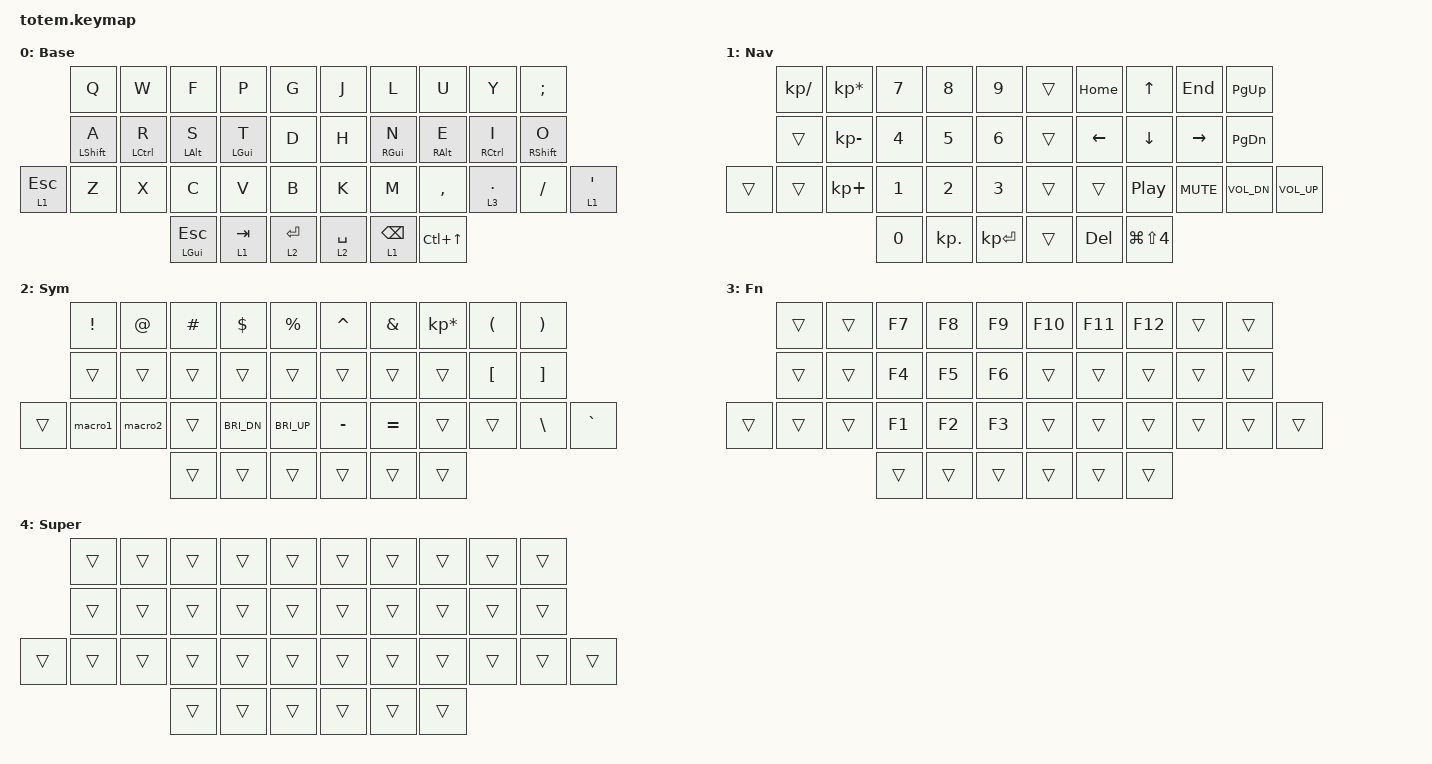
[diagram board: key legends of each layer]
//
//                                                        ▀▀▀▀▀     ▀▀▀▀▀          ▀▀█▀▀
//                                                        ▄▀▀▀▄  ▄  ▄▀▀▀▄  ▄  ▄▀▀▀▄  █  ▄▀▀▀▄
//                                                        █   █  █  █   █  █  █   █  █  █   █
//                                                         ▀▀▀   █   ▀▀▀   █   ▀▀▀   ▀   ▀▀▀
//                                                               █      ▄▄▄█▄▄▄    █   █  
//                                                               ▀      █  █  █     █▄█
//                                                             ▀▀▀▀▀    █  █  █      ▀
//                                                                      ▀  ▀  ▀
//
// ▄▄▄▄▄▄▄▄▄▄▄▄▄▄▄▄▄▄▄▄▄▄▄▄▄▄▄▄▄▄▄▄▄▄▄▄▄▄▄▄▄▄▄▄▄▄▄▄▄▄▄▄▄▄▄▄▄▄▄▄▄▄▄▄▄▄▄▄▄▄▄▄▄▄▄▄▄▄▄▄▄▄▄▄▄▄▄▄▄▄▄▄▄▄▄▄▄▄▄▄▄▄▄▄▄▄▄▄▄▄▄▄▄▄▄▄▄▄▄▄▄▄▄▄▄▄▄▄▄▄▄▄▄▄▄▄▄▄▄▄▄▄▄▄▄▄▄▄▄

#include <behaviors.dtsi>
#include <dt-bindings/zmk/keys.h>

#define Base        0
#define Nav         1
#define Sym         2
#define Fun         3
#define Game        4
#define Gameplus    5

&mt {
    quick-tap-ms = <100>;
    global-quick-tap;
    flavor = "tap-preferred";
    tapping-term-ms = <170>;
};

&lt {
    tapping-term-ms = <240>;
    flavor = "balanced";
    quick-tap-ms = <150>;
};

/ {
    behaviors {
        hm: homerow_mods {
            compatible = "zmk,behavior-hold-tap";
            label = "HOMEROW_MODS";
            #binding-cells = <2>;
            flavor = "tap-preferred";
            tapping-term-ms = <200>;
            quick-tap-ms = <125>;
            global-quick-tap;
            bindings = <&kp>, <&kp>;
        };
    };

    combos { compatible = "zmk,combos"; };

    macros {
        macro1: macro1 {
            compatible = "zmk,behavior-macro";
            #binding-cells = <0>;
            bindings = <&none &kp L &kp E &kp A &kp N &kp G &kp H &kp O &kp U &kp N &kp AT &kp G &kp M &kp A &kp I &kp L &kp DOT &kp C &kp O &kp M>;
            label = "MACRO1";
        };

        macro2: macro2 {
            compatible = "zmk,behavior-macro";
            #binding-cells = <0>;
            bindings = <&none &kp H &kp A &kp N &kp N &kp A &kp H &kp LPAR &kp N2 &kp N8 &kp RPAR &kp LS(M) &kp A &kp Y>;
            label = "MACRO2";
        };
    };

    keymap {
        compatible = "zmk,keymap";

        Base {
            display-name = "Base";
            bindings = <
              &kp Q         &kp W        &kp F         &kp P       &kp G        &kp J        &kp L       &kp U       &kp Y        &kp SEMICOLON
              &hm LSHIFT A  &hm LCTRL R  &hm LALT S    &hm LGUI T  &kp D        &kp H        &hm RGUI N  &hm RALT E  &hm RCTRL I  &hm RSHFT O
&lt 1 ESCAPE  &kp Z         &kp X        &kp C         &kp V       &kp B        &kp K        &kp M       &kp COMMA   &lt 3 DOT    &kp SLASH      &lt 1 SQT
                                         &mt LGUI ESC  &lt 1 TAB   &lt 2 RET    &lt 2 SPACE  &lt 1 BSPC  &kp LC(UP)
            >;
        };

        Nav {
            display-name = "Nav";
            bindings = <
        &kp KP_DIVIDE  &kp KP_MULTIPLY  &kp N7  &kp N8      &kp N9          &trans  &kp HOME  &kp UP                &kp END     &kp PG_UP
        &trans         &kp KP_MINUS     &kp N4  &kp N5      &kp N6          &trans  &kp LEFT  &kp DOWN              &kp RIGHT   &kp PG_DN
&trans  &trans         &kp KP_PLUS      &kp N1  &kp N2      &kp N3          &trans  &trans    &kp C_PLAY_PAUSE      &kp K_MUTE  &kp C_VOL_DN  &kp C_VOL_UP
                                        &kp N0  &kp KP_DOT  &kp KP_ENTER    &trans  &kp DEL   &kp LG(LS(NUMBER_4))
            >;
        };

        Sym {
            display-name = "Sym";
            bindings = <
        &kp EXCL  &kp AT   &kp HASH  &kp DOLLAR    &kp PERCENT     &kp CARET  &kp AMPERSAND  &kp KP_ASTERISK  &kp LPAR  &kp RPAR
        &trans    &trans   &trans    &trans        &trans          &trans     &trans         &trans           &kp LBKT  &kp RIGHT_BRACKET
&trans  &macro1   &macro2  &trans    &kp C_BRI_DN  &kp C_BRI_UP    &kp MINUS  &kp EQUAL      &trans           &trans    &kp BACKSLASH      &kp GRAVE
                           &trans    &trans        &trans          &trans     &trans         &trans
            >;
        };

        Fn {
            display-name = "Fn";
            bindings = <
        &trans  &trans  &kp F7  &kp F8  &kp F9    &kp F10  &kp F11  &kp F12  &trans  &trans
        &trans  &trans  &kp F4  &kp F5  &kp F6    &trans   &trans   &trans   &trans  &trans
&trans  &trans  &trans  &kp F1  &kp F2  &kp F3    &trans   &trans   &trans   &trans  &trans  &trans
                        &trans  &trans  &trans    &trans   &trans   &trans
            >;
        };

        Sup {
            display-name = "Super";
            bindings = <
        &trans  &trans  &trans  &trans  &trans    &trans  &trans  &trans  &trans  &trans
        &trans  &trans  &trans  &trans  &trans    &trans  &trans  &trans  &trans  &trans
&trans  &trans  &trans  &trans  &trans  &trans    &trans  &trans  &trans  &trans  &trans  &trans
                        &trans  &trans  &trans    &trans  &trans  &trans
            >;
        };
    };
};
